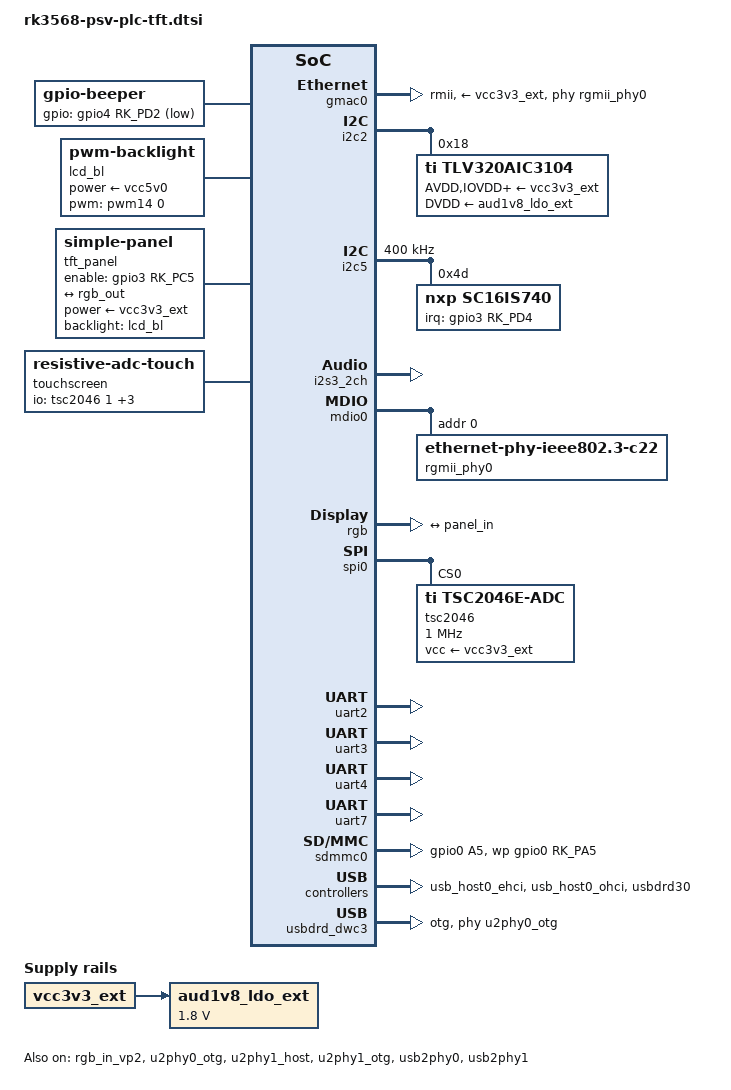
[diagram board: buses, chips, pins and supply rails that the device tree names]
/dts-v1/;
/plugin/;

#include <dt-bindings/gpio/gpio.h>
#include <dt-bindings/pinctrl/rockchip.h>
#include <dt-bindings/clock/rk3568-cru.h>
#include <dt-bindings/interrupt-controller/irq.h>
#include <dt-bindings/display/media-bus-format.h>
#include <dt-bindings/display/rockchip_vop.h>

&{/} {
    beeper {
        pinctrl-names = "default";
        pinctrl-0 = <&beeper_pin>;
		compatible = "gpio-beeper";
		gpios = <&gpio4 RK_PD2 GPIO_ACTIVE_LOW>;
	};

	aud1v8_ldo_ext: aud1v8-ldo-ext-regulator {
		compatible = "regulator-fixed";
		regulator-name = "aud1v8_ldo-ext";
		regulator-min-microvolt = <1800000>;
		regulator-max-microvolt = <1800000>;
		regulator-always-on;
		vin-supply = <&vcc3v3_ext>;
	};

	sound {
		status = "okay";
		compatible = "simple-audio-card";
		simple-audio-card,format = "i2s";
		simple-audio-card,mclk-fs = <256>;
		simple-audio-card,name = "PLC-audio";

		simple-audio-card,cpu {
			sound-dai = <&i2s3_2ch>;
		};
		simple-audio-card,codec {
			sound-dai = <&tlv320aic3104>;
		};
	};

	sc16is740_clk: sc16is740-clk {
		compatible = "fixed-clock";
		#clock-cells = <0>;
		clock-frequency = <7327800>;
	};

	lcd_bl: backlight {
		compatible = "pwm-backlight";
		pwms = <&pwm14 0 50000 0>;
		brightness-levels = <0 51 53 56 62 75 101 152 255>;
		default-brightness-level = <8>;
		power-supply = <&vcc5v0>;
	};

	tft_panel: rgb0_panel {
		status = "okay";
		compatible = "simple-panel";
		connector-type = "dpi";
		enable-gpios = <&gpio3 RK_PC5 GPIO_ACTIVE_HIGH>;
		backlight = <&lcd_bl>;
		power-supply = <&vcc3v3_ext>;
		bus-format = <MEDIA_BUS_FMT_RGB888_1X24>;
		bpc = <8>;

		display_timings: display-timings {
			native-mode = <&timing800x480>;
			timing800x480: 800x480 {
				// 5", 7" 800x480 @ 60Hz RGB
				clock-frequency = <31000000>;
				hactive = <800>;
				vactive = <480>;
				hfront-porch = <40>; //39
				hback-porch = <88>; //39
				vfront-porch = <13>; //13
				vback-porch = <32>; //29
				hsync-len = <48>; //47
				vsync-len = <3>; //2
				hsync-active = <0>;
				vsync-active = <0>;
			};
			timing1024x600: 1024x600 {
				// 10.1" 1024x600 @ 60Hz RGB
				clock-frequency = <51400000>;
				hactive = <1024>;
				vactive = <600>;
				hfront-porch = <160>; //220
				hback-porch = <160>; //100
				vfront-porch = <12>; //25
				vback-porch = <23>; //10
				hsync-len = <2>; //1
				vsync-len = <2>; //1
				hsync-active = <0>;
				vsync-active = <0>;
			};
			timing1024x768: 1024x768 {
				// 10.4", 12.1", 15" 1024x768 @ 60Hz 1ch-LVDS
				// clock-frequency = <65000000>;
				clock-frequency = <65800000>; // (hactive + hfront-porch + hback-porch + hsync-len) * (vactive + vfront-porch + vback-porch + vsync-len) * 60Hz
				hactive = <1024>;
				vactive = <768>;
				hfront-porch = <160>;
				hback-porch = <160>;
				vfront-porch = <6>;
				vback-porch = <32>;
				hsync-len = <10>;//1
				vsync-len = <4>;//1
				de-active = <0>;
				pixelclk-active = <0>;
			};
			timing1280x1024: 1280x1024 {
				// 17", 19" 1280x1024 @ 60Hz 2ch-LVDS
				clock-frequency = <118000000>; // (hactive + hfront-porch + hback-porch + hsync-len) * (vactive + vfront-porch + vback-porch + vsync-len) * 60Hz
				hactive = <1280>;
				vactive = <1024>;
				hfront-porch = <204>;
				hback-porch = <204>;
				vfront-porch = <6>;
				vback-porch = <78>;
				hsync-len = <100>;
				vsync-len = <1>;
				de-active = <0>;
				pixelclk-active = <0>;
			};
			timing1920x1080: 1920x1080 {
				// 21.5", 24" 1920x1080 @ 50Hz //60Hz 2ch-LVDS
				clock-frequency = <149000000>;
				hactive = <1920>;
				vactive = <1080>;
				hback-porch = <96>;
				hfront-porch = <120>;
				vback-porch = <8>;
				vfront-porch = <33>;
				hsync-len = <64>;
				vsync-len = <4>;
				hsync-active = <0>;
				vsync-active = <0>;
				de-active = <0>;
				pixelclk-active = <0>;
			};
		};
		
		panel_port: port {
			panel_in: endpoint {
				remote-endpoint = <&rgb_out>;
			};
		};
	};

	touchscreen: touchscreen {
		compatible = "resistive-adc-touch";
		io-channels = <&tsc2046 1>, <&tsc2046 3>, <&tsc2046 4>, <&tsc2046 5>;
		io-channel-names = "y", "z1", "z2", "x";
		touchscreen-min-pressure = <65000>;
		touchscreen-x-plate-ohms = <300>;
		status = "okay";
	};
};

&gmac0_clkin {
	clock-frequency = <50000000>;
};

&gmac0 {
	// https://bbs.elecfans.com/jishu_2310913_1_1.html
	phy-mode = "rmii";
	clock_in_out = "input";
	phy-supply = <&vcc3v3_ext>;

	assigned-clocks = <&cru SCLK_GMAC0_RX_TX>, <&cru SCLK_GMAC0>;
	assigned-clock-parents = <&cru SCLK_GMAC0_RMII_SPEED>, <&gmac0_clkin>;
	assigned-clock-rates = <0>, <50000000>;

	pinctrl-names = "default";
	pinctrl-0 = <&gmac0_miim
			 &gmac0_clkinout
		     &gmac0_tx_bus2
		     &gmac0_rx_bus2
		     &gmac0_rx_er>;

	tx_delay = <0x3c>;
	rx_delay = <0x2f>;

	phy-handle = <&rgmii_phy0>;
	status = "okay";
};

&i2c2 {
	#address-cells = <1>;
	#size-cells = <0>;
	tlv320aic3104: tlv320aic3104@18 {
		status = "okay";
        #sound-dai-cells = <0>;
		compatible = "ti,tlv320aic3104";
		reg = <0x18>;

		adc-settle-ms = <40>;

		AVDD-supply = <&vcc3v3_ext>;
		IOVDD-supply = <&vcc3v3_ext>;
		DRVDD-supply = <&vcc3v3_ext>;
		DVDD-supply = <&aud1v8_ldo_ext>;
	};
};

&i2c5 {
	#address-cells = <1>;
	#size-cells = <0>;
	status = "okay";
	pinctrl-names = "default";
	pinctrl-0 = <&i2c5m1_xfer>;
	clock-frequency = <400000>;

	sc16is740: sc16is740@4d {
		pinctrl-names = "default";
		pinctrl-0 = <&GPIO2_pin>;
		compatible = "nxp,sc16is740";
		reg = <0x4d>; // IC I2C address
		clocks = <&sc16is740_clk>;
		status = "okay";
		interrupt-parent = <&gpio3>;
		interrupts = <RK_PD4 IRQ_TYPE_EDGE_FALLING>;

		gpio-controller;
		#gpio-cells = <2>;
		
		#address-cells = <1>;
		#size-cells = <0>;

		uart@0 {
			reg = <0>;
			uart-has-rtscts;
			nxp,modem-control-line-ports = <0>;
		};
	};
};

&i2s3_2ch {
	status = "okay";
	rockchip,clk-trcm = <1>;
	pinctrl-names = "default";
	pinctrl-0 = <&i2s3m1_sclk
		     &i2s3m1_lrck
		     &i2s3m1_sdi
		     &i2s3m1_sdo>;
};

&mdio0 {
	#address-cells = <1>;
	#size-cells = <0>;
	rgmii_phy0: phy@0 {
		compatible = "ethernet-phy-ieee802.3-c22";
		reg = <0x0>;
	};
};

&rgb {
	status = "okay";
	ports {
		#address-cells = <1>;
		#size-cells = <0>;
		rgb_port: port@1 {
			reg = <1>;
			rgb_out: endpoint {
				remote-endpoint = <&panel_in>;
				data-lines = <24>;
			};
		};
	};
};

&rgb_in_vp2 {
	status = "okay";
};

&spi0 {
	#address-cells = <1>;
	#size-cells = <0>;
	pinctrl-names = "default";
	pinctrl-0 = <&spi0m0_pins &spi0m0_cs0>;
	status = "okay";

	tsc2046: tsc2046@0 {
		reg = <0>;			/* CS0 */
		compatible = "ti,tsc2046e-adc";
		spi-max-frequency = <1000000>;
        pinctrl-names = "default";
		vcc-supply = <&vcc3v3_ext>;
		linux,wakeup;

		#io-channel-cells = <1>;
		#address-cells = <1>;
		#size-cells = <0>;

		channel@1 {
			reg = <1>;
			settling-time-us = <700>;
			oversampling-ratio = <5>;
		};

		channel@3 {
			reg = <3>;
			settling-time-us = <700>;
			oversampling-ratio = <5>;
		};

		channel@4 {
			reg = <4>;
			settling-time-us = <700>;
			oversampling-ratio = <5>;
		};

		channel@5 {
			reg = <5>;
			settling-time-us = <700>;
			oversampling-ratio = <5>;
		};
	};
};

&uart2 {
	// modules
	status = "okay";
};

&uart3 {
	// RS485-1
	status = "okay";
	pinctrl-names = "default";
	pinctrl-0 = <&uart3m0_xfer &RS485_1_RT_pin>;
	dir-gpio = <&gpio4 RK_PA0 GPIO_ACTIVE_HIGH>;
};

&uart4 {
	// RS485-2
	status = "okay";
	pinctrl-names = "default";
	pinctrl-0 = <&uart4m0_xfer &RS485_2_RT_pin>;
	dir-gpio = <&gpio4 RK_PA1 GPIO_ACTIVE_HIGH>;
};

&uart7 {
	// GSM
	status = "okay";
	pinctrl-names = "default";
	pinctrl-0 = <&uart7m2_xfer &GPIO0_pin>;
	dma-names = "tx", "rx";
};

&pinctrl {
	beeper {
		beeper_pin: beeper-pin {
			rockchip,pins = <4 RK_PD2 RK_FUNC_GPIO &pcfg_pull_none>;
		};
	};

	sc16is740 {
		GPIO2_pin: GPIO2-pin {
			rockchip,pins = <3 RK_PD4 RK_FUNC_GPIO &pcfg_pull_up>;
		};
	};

	sdmmc0 {
		sdmmc_wp_gpio: sdmmc-wp-gpio {
			rockchip,pins = <0 RK_PA5 RK_FUNC_GPIO &pcfg_pull_up>;
		};
	};
};

&sdmmc0 {
	/* front micro-SD */
	pinctrl-0 = <&sdmmc0_bus4 &sdmmc0_clk &sdmmc0_cmd &sdmmc0_det &sdmmc_wp_gpio>;
	wp-gpios = <&gpio0 RK_PA5 GPIO_ACTIVE_HIGH>;
};

&u2phy0_host {
	status = "disabled";
};

&u2phy0_otg {
	vbus-supply = <&vcc5v0_otg>;
	status = "okay";
};

&u2phy1_host {
	phy-supply = <&vcc5v0_host>;
	status = "okay";
};

&u2phy1_otg {
	phy-supply = <&vcc5v0_host>;
	status = "okay";
};

/* USB OTG/USB Host_1 USB 2.0 Comb PHY_0 - front panel USB OTG */
&usb2phy0 {
	status = "okay";
};

/* USB Host_1/USB Host_2 USB 2.0 Comb PHY_0 */
&usb2phy1 {
	status = "okay";
};

/* USB 2.0 Host_2 EHCI controller for high speed */
&usb_host0_ehci {
	status = "okay";
};

/* USB 2.0 Host_2 OHCI controller for full/low speed */
&usb_host0_ohci {
	status = "okay";
};

/* USB 2.0 Host_3 EHCI controller for high speed */
&usb_host1_ehci {
	status = "disabled";
};

/* USB 2.0 Host_3 OHCI controller for full/low speed */
&usb_host1_ohci {
	status = "disabled";
};

&usbdrd_dwc3 {
	dr_mode = "otg";
	phys = <&u2phy0_otg>;
	phy-names = "usb2-phy";
	extcon = <&usb2phy0>;
	maximum-speed = "high-speed";
	snps,dis_u2_susphy_quirk;
	status = "okay";
};

/* USB 3.0 OTG controller */
&usbdrd30 {
	status = "okay";
};

&usbhost_dwc3 {
	status = "disabled";
};

/* USB 3.0 Host_1 controller */
&usbhost30 {
	status = "disabled";
};
